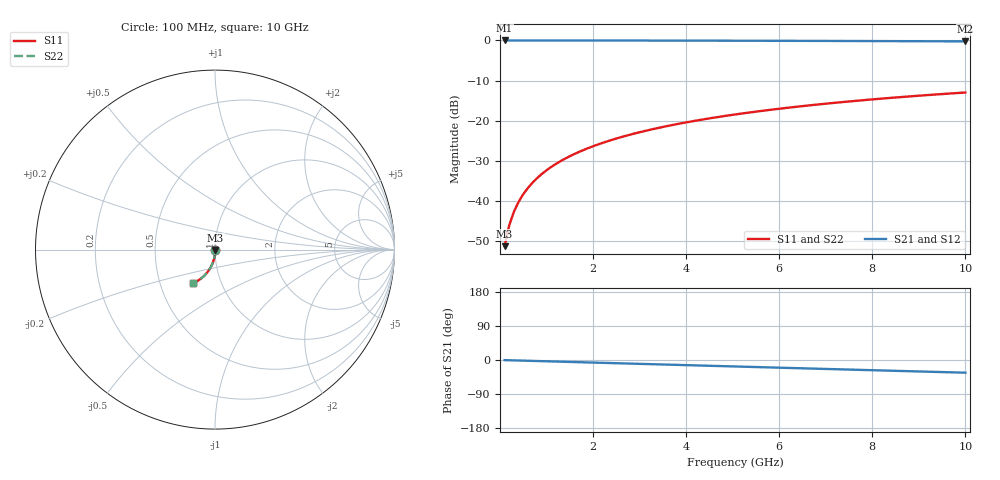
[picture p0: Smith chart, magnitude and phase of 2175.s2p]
# Hz S RI R 50.00
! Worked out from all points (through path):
!   100 points, 100 MHz to 10 GHz, reference 50 ohm
!   highest |S21| = -0.01 dB at 100 MHz (marker M1); lowest = -0.2 dB at 10 GHz (marker M2)
!   group delay of S21, straight-line fit = 9.32 ps
!   lowest |S11| = -51.3 dB at 100 MHz (marker M3), VSWR 1.01, Z = 50.1 - j0.241 ohm
!   |S11| at or under -10 dB: start of sweep to end of sweep
!   |S22| runs from -51.3 to -13.0 dB; largest |S21 - S12| = 0
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1e8  0.00126 -0.00241  0.9987 -0.00591  0.9987 -0.00591  0.00126 -0.00241
2e8  0.00122 -0.00481  0.9986 -0.0118  0.9986 -0.0118  0.00122 -0.00481
3e8  0.00115 -0.00721  0.9985 -0.0177  0.9985 -0.0177  0.00115 -0.00721
4e8  0.00106 -0.00962  0.9984 -0.0236  0.9984 -0.0236  0.00106 -0.00962
5e8  0.000929 -0.012  0.9982 -0.0295  0.9982 -0.0295  0.000929 -0.012
6e8  0.000773 -0.0144  0.9979 -0.0354  0.9979 -0.0354  0.000773 -0.0144
7e8  0.000588 -0.0168  0.9977 -0.0413  0.9977 -0.0413  0.000588 -0.0168
8e8  0.000375 -0.0192  0.9973 -0.0472  0.9973 -0.0472  0.000375 -0.0192
9e8  0.000133 -0.0216  0.997 -0.0531  0.997 -0.0531  0.000133 -0.0216
1.1e9  -0.000437 -0.0264  0.9962 -0.0649  0.9962 -0.0649  -0.000437 -0.0264
1.4e9  -0.0015 -0.0335  0.9946 -0.0826  0.9946 -0.0826  -0.0015 -0.0335
1.8e9  -0.00332 -0.043  0.992 -0.106  0.992 -0.106  -0.00332 -0.043
2.1e9  -0.00497 -0.05  0.9896 -0.1236  0.9896 -0.1236  -0.00497 -0.05
2.5e9  -0.00756 -0.0593  0.9859 -0.1468  0.9859 -0.1468  -0.00756 -0.0593
2.9e9  -0.0106 -0.0684  0.9815 -0.17  0.9815 -0.17  -0.0106 -0.0684
3.4e9  -0.0149 -0.0796  0.9752 -0.1987  0.9752 -0.1987  -0.0149 -0.0796
4.2e9  -0.0233 -0.0968  0.963 -0.244  0.963 -0.244  -0.0233 -0.0968
5.1e9  -0.0345 -0.1152  0.9465 -0.2938  0.9465 -0.2938  -0.0345 -0.1152
5.9e9  -0.046 -0.1304  0.9295 -0.337  0.9295 -0.337  -0.046 -0.1304
6.7e9  -0.0589 -0.1444  0.9103 -0.379  0.9103 -0.379  -0.0589 -0.1444
8.4e9  -0.0899 -0.1697  0.8629 -0.4636  0.8629 -0.4636  -0.0899 -0.1697
1e10  -0.1227 -0.1874  0.811 -0.5368  0.811 -0.5368  -0.1227 -0.1874
